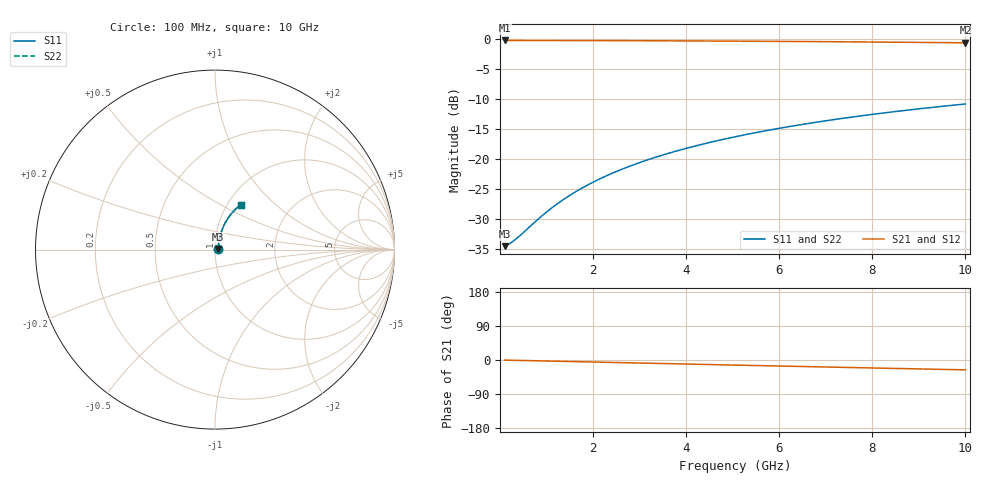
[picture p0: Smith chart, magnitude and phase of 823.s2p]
# Hz S RI R 50.00
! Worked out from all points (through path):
!   100 points, 100 MHz to 10 GHz, reference 50 ohm
!   highest |S21| = -0.16 dB at 100 MHz (marker M1); lowest = -0.6 dB at 10 GHz (marker M2)
!   group delay of S21, straight-line fit = 7.24 ps
!   lowest |S11| = -34.5 dB at 100 MHz (marker M3), VSWR 1.04, Z = 51.9 + j0.31 ohm
!   |S11| at or under -10 dB: start of sweep to end of sweep
!   |S22| runs from -34.5 to -10.8 dB; largest |S21 - S12| = 0
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1e8  0.0186 0.00299  0.9814 -0.00458  0.9814 -0.00458  0.0186 0.00299
2e8  0.0187 0.00598  0.9813 -0.00917  0.9813 -0.00917  0.0187 0.00598
3e8  0.0189 0.00896  0.9811 -0.0137  0.9811 -0.0137  0.0189 0.00896
4e8  0.019 0.0119  0.9809 -0.0183  0.9809 -0.0183  0.019 0.0119
9e8  0.0202 0.0268  0.9797 -0.0412  0.9797 -0.0412  0.0202 0.0268
1.2e9  0.0212 0.0357  0.9786 -0.0549  0.9786 -0.0549  0.0212 0.0357
1.5e9  0.0224 0.0446  0.9773 -0.0685  0.9773 -0.0685  0.0224 0.0446
1.8e9  0.0238 0.0534  0.9757 -0.0821  0.9757 -0.0821  0.0238 0.0534
2.1e9  0.0255 0.0622  0.9739 -0.0957  0.9739 -0.0957  0.0255 0.0622
2.5e9  0.0281 0.0738  0.971 -0.1137  0.971 -0.1137  0.0281 0.0738
2.9e9  0.0312 0.0852  0.9677 -0.1315  0.9677 -0.1315  0.0312 0.0852
3.4e9  0.0356 0.0994  0.9629 -0.1536  0.9629 -0.1536  0.0356 0.0994
3.8e9  0.0395 0.1105  0.9586 -0.1711  0.9586 -0.1711  0.0395 0.1105
4.2e9  0.0439 0.1214  0.9538 -0.1885  0.9538 -0.1885  0.0439 0.1214
4.6e9  0.0486 0.1321  0.9486 -0.2056  0.9486 -0.2056  0.0486 0.1321
5.1e9  0.055 0.1453  0.9415 -0.2268  0.9415 -0.2268  0.055 0.1453
5.9e9  0.0665 0.1655  0.9289 -0.2598  0.9289 -0.2598  0.0665 0.1655
6.7e9  0.0793 0.1847  0.9148 -0.2919  0.9148 -0.2919  0.0793 0.1847
7.5e9  0.0933 0.2027  0.8993 -0.3228  0.8993 -0.3228  0.0933 0.2027
8.4e9  0.1104 0.2216  0.8803 -0.3562  0.8803 -0.3562  0.1104 0.2216
9.2e9  0.1266 0.237  0.8622 -0.3846  0.8622 -0.3846  0.1266 0.237
1e10  0.1437 0.2511  0.8431 -0.4117  0.8431 -0.4117  0.1437 0.2511
